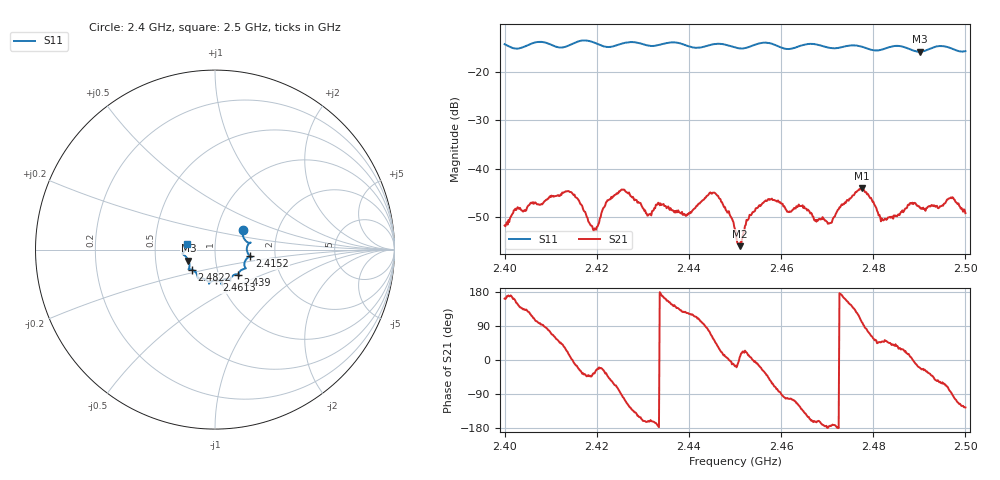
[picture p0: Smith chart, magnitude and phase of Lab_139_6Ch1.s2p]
# Hz S RI R 50
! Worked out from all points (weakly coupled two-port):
!   601 points, 2.4 GHz to 2.5 GHz, reference 50 ohm
!   highest |S21| = -43.99 dB at 2.4775 GHz (marker M1); lowest = -56.0 dB at 2.451 GHz (marker M2)
!   lowest |S11| = -15.9 dB at 2.4902 GHz (marker M3), VSWR 1.38, Z = 36.9 - j4.63 ohm
!   |S11| at or under -10 dB: start of sweep to end of sweep
!   S12 and S22 are empty: the file has one direction only
!   S11 on the Smith chart (normalised r, x): 2.4 GHz: 1.33, +0.31; 2.4152 GHz: 1.48, -0.11; 2.439 GHz: 1.24, -0.36; 2.4613 GHz: 0.96, -0.34; 2.4822 GHz: 0.76, -0.17; 2.5 GHz: 0.72, +0.05
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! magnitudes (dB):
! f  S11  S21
! 2.4 GHz  -14.4  -51.7
! 2.4025 GHz  -15.3  -48.5
! 2.4152 GHz  -14.1  -45.3
! 2.4167 GHz  -13.6  -47.4
! 2.4197 GHz  -14.1  -52.4
! 2.4253 GHz  -14.3  -44.3
! 2.4313 GHz  -14.7  -49.4
! 2.4333 GHz  -14.5  -47.0
! 2.439 GHz  -14.5  -49.3
! 2.4455 GHz  -14.3  -44.9
! 2.45 GHz  -15.0  -52.5
! 2.451 GHz  -15.2  -56.0
! 2.4563 GHz  -14.0  -46.8
! 2.4613 GHz  -15.3  -48.9
! 2.4667 GHz  -14.3  -49.3
! 2.4707 GHz  -15.1  -51.2
! 2.4775 GHz  -14.9  -44.0
! 2.4822 GHz  -15.4  -50.7
! 2.4833 GHz  -15.0  -50.1
! 2.4902 GHz  -15.9  -48.1
! 2.4968 GHz  -15.2  -45.9
! 2.5 GHz  -15.8  -49.2
